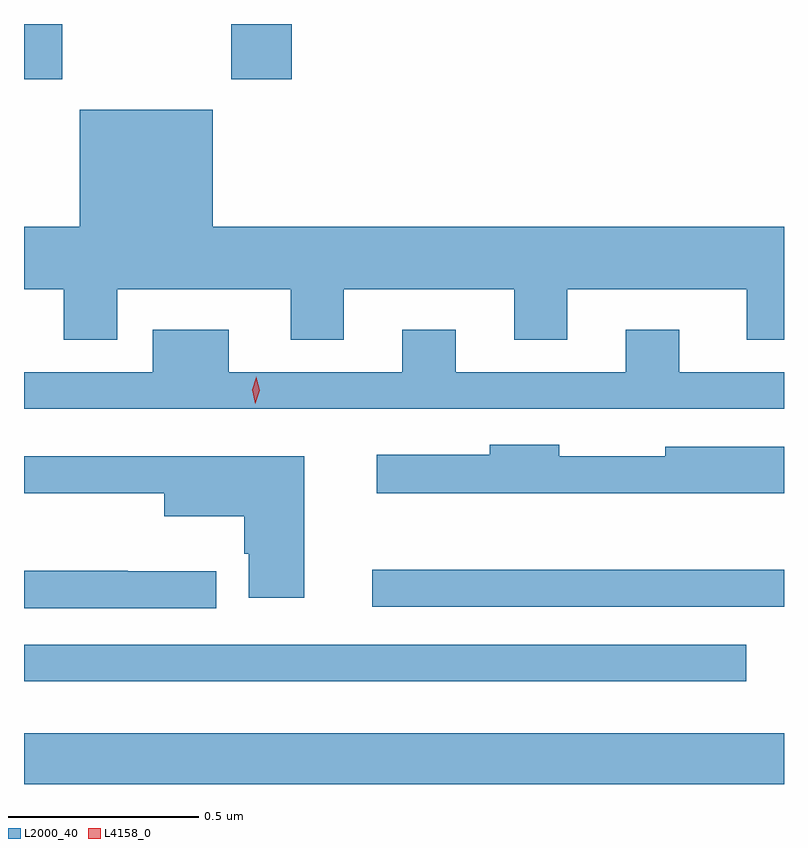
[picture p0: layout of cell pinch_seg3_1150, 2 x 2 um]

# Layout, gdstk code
import gdstk
lib = gdstk.Library(unit=1e-6, precision=1e-09)
def R(c, l, rs):  # rectangles x0, y0, x1, y1
    for r in rs: c.add(gdstk.rectangle(r[:2], r[2:], *l))
def P(c, l, *ps):  # polygons
    for p in ps: c.add(gdstk.Polygon(p, *l))
L2000_40 = (2000, 40)
L4158_0 = (4158, 0)

pinch_seg3_1150 = lib.new_cell('pinch_seg3_1150')
R(pinch_seg3_1150, L2000_40, [(127.031,716.93,129.031,717.064), (127.031,717.2,128.932,717.297), (127.947,717.396,129.031,717.494), (127.031,718.785,127.131,718.93), (127.576,718.785,127.736,718.93)])
P(pinch_seg3_1150, L2000_40, [(127.276,718.232),(127.733,718.232),(127.733,718.099),(127.873,718.099),(127.873,718.232),(128.321,718.232),(128.321,718.099),(128.461,718.099),(128.461,718.232),(128.933,718.232),(128.933,718.099),(129.031,718.099),(129.031,718.396),(127.528,718.396),(127.528,718.705),(127.178,718.705),(127.178,718.396),(127.031,718.396),(127.031,718.232),(127.136,718.232),(127.136,718.099),(127.276,718.099)],
  [(129.031,718.014),(128.755,718.014),(128.755,718.126),(128.615,718.126),(128.615,718.014),(128.167,718.014),(128.167,718.126),(128.027,718.126),(128.027,718.014),(127.57,718.014),(127.57,718.126),(127.37,718.126),(127.37,718.014),(127.031,718.014),(127.031,717.918),(129.031,717.918)],
  [(129.031,717.817),(128.718,717.817),(128.718,717.792),(128.44,717.792),(128.44,717.823),(128.256,717.823),(128.256,717.796),(127.959,717.796),(127.959,717.695),(129.031,717.695)],
  [(127.768,717.793),(127.504,717.793),(127.504,717.792),(127.031,717.792),(127.031,717.695),(127.4,717.695),(127.4,717.635),(127.61,717.635),(127.61,717.536),(127.622,717.536),(127.622,717.42),(127.768,717.42)],
  [(127.537,717.49),(127.304,717.49),(127.304,717.491),(127.031,717.491),(127.031,717.393),(127.537,717.393)])
P(pinch_seg3_1150, L4158_0, [(127.639,717.931),(127.639,717.931),(127.631,717.967),(127.642,718.001),(127.642,718.002),(127.642,718.001),(127.651,717.966),(127.64,717.931)])

lib.write_gds('pinch_seg3_1150.gds')
